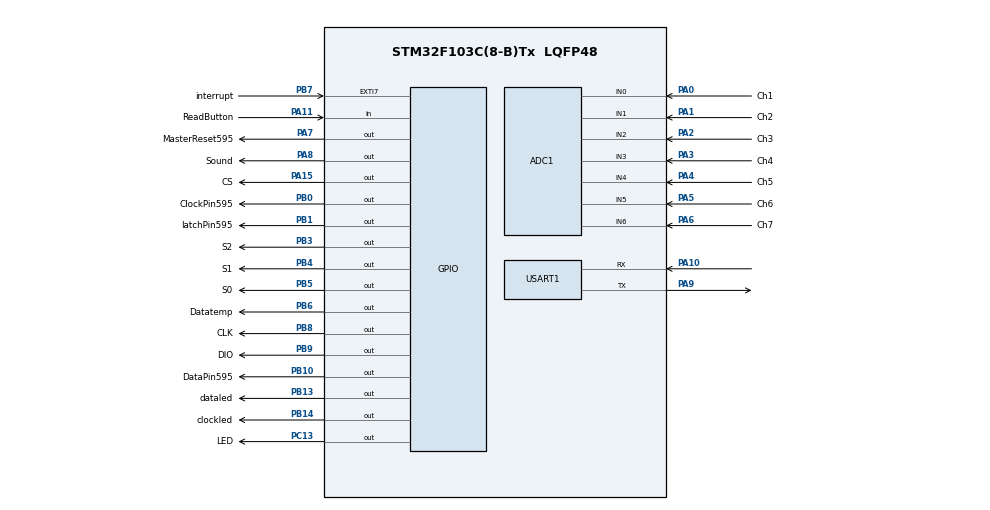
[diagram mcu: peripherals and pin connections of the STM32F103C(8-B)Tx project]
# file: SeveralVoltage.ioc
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ADC1.Channel-1\#ChannelRegularConversion=ADC_CHANNEL_0
ADC1.Channel-10\#ChannelRegularConversion=ADC_CHANNEL_5
ADC1.Channel-11\#ChannelRegularConversion=ADC_CHANNEL_6
ADC1.Channel-6\#ChannelRegularConversion=ADC_CHANNEL_1
ADC1.Channel-7\#ChannelRegularConversion=ADC_CHANNEL_2
ADC1.Channel-8\#ChannelRegularConversion=ADC_CHANNEL_3
ADC1.Channel-9\#ChannelRegularConversion=ADC_CHANNEL_4
ADC1.EnableInjectedConversion=DISABLE
ADC1.InjNumberOfConversion=4
ADC1.NbrOfConversion=7
ADC1.NbrOfConversionFlag=1
ADC1.Rank-1\#ChannelRegularConversion=1
ADC1.Rank-10\#ChannelRegularConversion=6
ADC1.Rank-11\#ChannelRegularConversion=7
ADC1.Rank-6\#ChannelRegularConversion=2
ADC1.Rank-7\#ChannelRegularConversion=3
ADC1.Rank-8\#ChannelRegularConversion=4
ADC1.Rank-9\#ChannelRegularConversion=5
ADC1.SamplingTime-1\#ChannelRegularConversion=ADC_SAMPLETIME_239CYCLES_5
ADC1.SamplingTime-10\#ChannelRegularConversion=ADC_SAMPLETIME_239CYCLES_5
ADC1.SamplingTime-11\#ChannelRegularConversion=ADC_SAMPLETIME_239CYCLES_5
ADC1.SamplingTime-6\#ChannelRegularConversion=ADC_SAMPLETIME_239CYCLES_5
ADC1.SamplingTime-7\#ChannelRegularConversion=ADC_SAMPLETIME_239CYCLES_5
ADC1.SamplingTime-8\#ChannelRegularConversion=ADC_SAMPLETIME_239CYCLES_5
ADC1.SamplingTime-9\#ChannelRegularConversion=ADC_SAMPLETIME_239CYCLES_5
ADC1.master=1
Dma.ADC1.0.Direction=DMA_PERIPH_TO_MEMORY
Dma.ADC1.0.Instance=DMA1_Channel1
Dma.ADC1.0.MemDataAlignment=DMA_MDATAALIGN_HALFWORD
Dma.ADC1.0.MemInc=DMA_MINC_ENABLE
Dma.ADC1.0.Mode=DMA_NORMAL
Dma.ADC1.0.PeriphDataAlignment=DMA_PDATAALIGN_HALFWORD
Dma.ADC1.0.PeriphInc=DMA_PINC_DISABLE
Dma.ADC1.0.Priority=DMA_PRIORITY_LOW
Dma.Request0=ADC1
Mcu.Family=STM32F1
Mcu.Name=STM32F103C(8-B)Tx
Mcu.Package=LQFP48
NVIC.DMA1_Channel1_IRQn=true\:0\:0\:false\:false\:true\:false\:true
NVIC.EXTI9_5_IRQn=true\:1\:0\:true\:false\:true\:true\:true
NVIC.PriorityGroup=NVIC_PRIORITYGROUP_4
NVIC.TIM2_IRQn=true\:0\:0\:true\:false\:true\:true\:true
NVIC.TIM3_IRQn=true\:0\:0\:false\:false\:true\:true\:true
NVIC.TIM4_IRQn=true\:0\:0\:false\:false\:true\:true\:true
NVIC.USART1_IRQn=true\:0\:0\:false\:false\:true\:true\:true
PA0-WKUP.GPIO_Label=Ch1
PA0-WKUP.Signal=ADCx_IN0
PA1.GPIO_Label=Ch2
PA1.Signal=ADCx_IN1
PA10.Mode=Asynchronous
PA10.Signal=USART1_RX
PA11.GPIO_Label=ReadButton
PA11.Signal=GPIO_Input
PA13.Mode=Serial_Wire
PA13.Signal=SYS_JTMS-SWDIO
PA14.Mode=Serial_Wire
PA14.Signal=SYS_JTCK-SWCLK
PA15.GPIO_Label=CS
PA15.GPIO_Speed=GPIO_SPEED_FREQ_LOW
PA15.Signal=GPIO_Output
PA2.GPIO_Label=Ch3
PA2.Signal=ADCx_IN2
PA3.GPIO_Label=Ch4
PA3.Signal=ADCx_IN3
PA4.GPIO_Label=Ch5
PA4.Signal=ADCx_IN4
PA5.GPIO_Label=Ch6
PA5.Signal=ADCx_IN5
PA6.GPIO_Label=Ch7
PA6.Signal=ADCx_IN6
PA7.GPIO_Label=MasterReset595
PA7.GPIO_ModeDefaultOutputPP=GPIO_MODE_OUTPUT_PP
PA7.PinState=GPIO_PIN_SET
PA7.Signal=GPIO_Output
PA8.GPIO_Label=Sound
PA8.Signal=GPIO_Output
PA9.Mode=Asynchronous
PA9.Signal=USART1_TX
PB0.GPIO_Label=ClockPin595
PB0.Signal=GPIO_Output
PB1.GPIO_Label=latchPin595
PB1.Signal=GPIO_Output
PB10.GPIO_Label=DataPin595
PB10.Signal=GPIO_Output
PB13.GPIO_Label=dataled
PB13.Signal=GPIO_Output
PB14.GPIO_Label=clockled
PB14.Signal=GPIO_Output
PB3.GPIO_Label=S2
PB3.Signal=GPIO_Output
PB4.GPIO_Label=S1
PB4.Signal=GPIO_Output
PB5.GPIO_Label=S0
PB5.Signal=GPIO_Output
PB6.GPIO_Label=Datatemp
PB6.GPIO_ModeDefaultOutputPP=GPIO_MODE_OUTPUT_OD
PB6.Signal=GPIO_Output
PB7.GPIO_Label=interrupt
PB7.GPIO_ModeDefaultEXTI=GPIO_MODE_IT_FALLING
PB7.Signal=GPXTI7
PB8.GPIO_Label=CLK
PB8.Signal=GPIO_Output
PB9.GPIO_Label=DIO
PB9.Signal=GPIO_Output
PC13-TAMPER-RTC.GPIO_Label=LED
PC13-TAMPER-RTC.Signal=GPIO_Output
PD0-OSC_IN.Mode=HSE-External-Oscillator
PD0-OSC_IN.Signal=RCC_OSC_IN
PD1-OSC_OUT.Mode=HSE-External-Oscillator
PD1-OSC_OUT.Signal=RCC_OSC_OUT
ProjectManager.HeapSize=0x200
ProjectManager.StackSize=0x400
ProjectManager.TargetToolchain=MDK-ARM V5.27
RCC.ADCPresc=RCC_ADCPCLK2_DIV8
RCC.AHBFreq_Value=72000000
RCC.APB1CLKDivider=RCC_HCLK_DIV2
RCC.APB1Freq_Value=36000000
RCC.APB1TimFreq_Value=72000000
RCC.APB2Freq_Value=72000000
RCC.APB2TimFreq_Value=72000000
RCC.HCLKFreq_Value=72000000
RCC.PLLMUL=RCC_PLL_MUL9
RCC.PLLSourceVirtual=RCC_PLLSOURCE_HSE
RCC.SYSCLKFreq_VALUE=72000000
RCC.SYSCLKSource=RCC_SYSCLKSOURCE_PLLCLK
RCC.USBFreq_Value=72000000
SH.ADCx_IN0.0=ADC1_IN0,IN0
SH.ADCx_IN1.0=ADC1_IN1,IN1
SH.ADCx_IN2.0=ADC1_IN2,IN2
SH.ADCx_IN3.0=ADC1_IN3,IN3
SH.ADCx_IN4.0=ADC1_IN4,IN4
SH.ADCx_IN5.0=ADC1_IN5,IN5
SH.ADCx_IN6.0=ADC1_IN6,IN6
TIM2.Period=7600
TIM2.Prescaler=7199
TIM3.Period=9999
TIM3.Prescaler=7199
TIM4.Period=1000
TIM4.Prescaler=7199
USART1.VirtualMode=VM_ASYNC
VP_CRC_VS_CRC.Mode=CRC_Activate
VP_TIM2_VS_ClockSourceINT.Mode=Internal
VP_TIM3_VS_ClockSourceINT.Mode=Internal
VP_TIM4_VS_ClockSourceINT.Mode=Internal
board=custom

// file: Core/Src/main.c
/* USER CODE BEGIN Header */
/**
  ******************************************************************************
  * @file           : main.c
  * @brief          : Main program body
  ******************************************************************************
  * @attention
  *
  * <h2><center>&copy; Copyright (c) 2022 STMicroelectronics.
  * All rights reserved.</center></h2>
  *
  * This software component is licensed by ST under BSD 3-Clause license,
  * the "License"; You may not use this file except in compliance with the
  * License. You may obtain a copy of the License at:
  *                        opensource.org/licenses/BSD-3-Clause
  *
  ******************************************************************************
  */
	//--------------------------------------------------------------------------------

/* USER CODE END Header */
#include "main.h"

/* USER CODE BEGIN PD */

//------------------------------------------------------NOT USED IN SEVERAL--------------------------
#define CS_set LL_GPIO_SetOutputPin(GPIOA, LL_GPIO_PIN_15);
#define CS_Reset LL_GPIO_ResetOutputPin(GPIOA, LL_GPIO_PIN_15);

/* USER CODE END PD */

ADC_HandleTypeDef hadc1;
DMA_HandleTypeDef hdma_adc1;

CRC_HandleTypeDef hcrc;

TIM_HandleTypeDef htim2;

/* USER CODE BEGIN PV */
volatile uint8_t flagtemp = 1;
//====================================USART================================================
char logs[10]="";
char logs1[10]="";
char str0[]="12345";//пример строки из 5 символов '\0' НУЛЕВОЙ С�?МВОЛ НЕ УКАЗЫВАЕТСЯ
char str1[6]={'1','2','3','4','5','\0'};//"тоже самое". '\0'- символ оканчания строки
char str2[6]={49,50,51,52,53,0};//"аналог"строки из 6 элементов типа char только уже в числовом представлении.
char rx_buf[10];//буфер для записи пришедших данных по usart
uint8_t flag_usart=0;//флаг для сигнализирования о том, что в юсарт что-то пришло
char rx_buf1[256];
volatile uint8_t rx_pos;
volatile uint8_t  send_temp_flag=0;
volatile uint8_t  show_channel_flag=0;
uint16_t adc_data;
//====================================END USART=============================================

uint32_t res_addr;//переменная, куда запишется последний свободный адрес в памяти. туда будет происходить запись новых элементов
int i;
int y;
float t=0;
int16_t temp;
uint8_t Maincondition = 0; //переменная флаг. определяет, какой блок в главном цикле будет выполняться
uint8_t Line_channel_current = 0;
uint8_t flagwhichfunctionisactive;//переменная флаг, которая показывает, какая из функций продолжительности звука сейчас в работе. 1 - long, 0 - short
uint8_t counterforsoundshort=Shortsoundtime;
uint8_t counterforsoundlong=Longsoundtime;
int8_t TimeDisp[4] = {0,};//переменная для дисплея
//                      {mos_1|mos_2|mos_3|mos_4|mos_5|mos_6|mos_7|rel_1|rel_2|rel_3|rel_4|rel_5|rel_6|rel_7| Fan |not used}
uint8_t Register595[16]={  0  ,  0  ,  0  ,  0  ,  0  ,  0  ,  0  ,  0  ,  0  ,  0  ,  0  ,  0  ,  0  ,  0  ,  0  ,    0   };//массив, отправляемый на регистр 595 и включающий каналы и реле
//-------------------------------------------------------------------------------------
//                               Front Panel
//                    but1   but2   but3  but4   but5  but6   but7
//      but8
//                    led1   led2   led3  led4   led5  led6   led7
//-------------------------------------------------------------------------------------
//led№                     1     2     3     4     5     6     7   not
uint8_t LedState[8] =   {  0  ,  0  ,  0  ,  0  ,  0  ,  0  ,  0  , 0 };//состояние светодиодов передней панели
//-------------------------------------------------------------------------------------
//S0|S1|S2								000		100		010		001		011		111		101	 110
//but№                     1     2     3     4     5     6     7    8
uint8_t ButtonState[8] ={  0  ,  0  ,  0  ,  0  ,  0  ,  0  ,  0  , 0 };//состояние кнопок после опроса. если 1 - то было короткое нажатие, если 2, то было длинное нажатие
uint8_t alarm_Button = 0;//флаг для сигнализирования о том, что с кнопками взаимодействовали и надо бы проверить их состояние.
//-------------------------------------------------------------------------------------
uint8_t button_8_mos_state_flag = 0;//флаг состояния кнопки 8 для управления всеми каналами одновременно. 0 - мосфеты выключены, 1 мосфеты включены
uint8_t button_8_rel_state_flag = 0;//флаг состояния кнопки 8 для управления всеми реле одновременно. 0 - реле выключеныб 1 - реле включены
//--------------------------------components with calculate current--------------------------
uint16_t adc_value[7];
double voltage[7];//переменная для накопления значений из ацп, в ней так же хранятся данные о значении тока на соответсвующем канале
//         												 (Xmin1 Xmin2 Xmin3 Xmin4 Xmin5 Xmin6 Xmin7) (Xmax1    Xmax2    Xmax3    Xmax4    Xmax5    Xmax6    Xmax7    zero)
myBuf_t   X_components[BUFFSIZE] = {  0  ,  0  ,  0  ,  0  ,  0  ,  0  ,  0   ,  4095  ,  4095  ,  4095  ,  4095  ,  4095  ,  4095  ,  4095  ,  0  };//массив для хранения компонент расчета тока, сохраняется во флеш памяти после калибровки
//                                 (Ymin1 Ymin2 Ymin3 Ymin4 Ymin5 Ymin6 Ymin7) (Ymax1 Ymax2  Ymax3  Ymax4  Ymax5  Ymax6  Ymax7  zero)
double    Y_components[BUFFSIZE] = { 0   ,  0  ,  0  ,  0  ,  0  ,  0  ,  0  ,  3.30 ,3.30 , 3.30 , 3.30 , 3.30 , 3.30 , 3.30 ,  0  };//эти компоненты измеряются мультиметром и записываются в прошивку
double K_coeff[7];//коэффициента к уравнениея прямой
double B_coeff[7];// смещение прямой, компонент В

//    X*Ymax_component - Xmin_component*Ymax_component
// Y=--------------------------------------------------
//             Xmax_component - Xmin_component
//
//    - Xmin_component*Ymax_component
// B=---------------------------------
//     Xmax_component - Xmin_component
//
//           Ymax_component
// K=--------------------------------
//    Xmax_component - Xmin_component
//-------------------------------------------------------------------------------------------
/* USER CODE END PV */

void SystemClock_Config(void);
static void MX_GPIO_Init(void);
static void MX_DMA_Init(void);
static void MX_ADC1_Init(void);
static void MX_TIM4_Init(void);
static void MX_CRC_Init(void);
static void MX_TIM3_Init(void);
static void MX_USART1_UART_Init(void);
static void MX_TIM2_Init(void);
/* USER CODE BEGIN PFP */
void channels_on_off(uint8_t a[]);
void LedFrontPanelUpdate(uint8_t a[]);
void fill_array_for_show_integer(int16_t number, int8_t* adress);
void fill_array_for_show_number_of_channel(int8_t chanel, int8_t* adress);
void fill_array_for_show_double(double number, int8_t* adress);
uint8_t Calibration(void);//функция калибровки, возвращает статус калибровки
void Check_Button(void); //функция проверяет состояние флага alarm batton и производит действия со сдвиговыми регистрами, если эта необходимо, включает\отключает каналы и зажигает светодиоды.
void fill_array_for_show_temp(float temp, int8_t * adress);
//===================================usart===========================
void usart_send_byte (char chr);
void usart_send_string(const char* str);
void clear_rx_buf(void);
void check_uart(void);
uint8_t Check_condition(void);
void condition_0(void);
void condition_1(void);
void condition_2(void);
void Are_all_lights_on_cheking(void);
//==================================end usart=========================
/* USER CODE END PFP */

int main(void)
{

  /* MCU Configuration--------------------------------------------------------*/

  /* Reset of all peripherals, Initializes the Flash interface and the Systick. */
  HAL_Init();

  /* Configure the system clock */
  SystemClock_Config();

  /* Initialize all configured peripherals */
  MX_GPIO_Init();
  MX_DMA_Init();
  MX_ADC1_Init();
  MX_TIM4_Init();
  MX_CRC_Init();
  MX_TIM3_Init();
  MX_USART1_UART_Init();
  MX_TIM2_Init();
	Are_all_lights_on_cheking();
  /* USER CODE BEGIN 2 */
	DWT_Init();        // инициализация DWT
  set_brightness(7); // 0 - 7 яркость
  clearDisplay();    // очистка дисплея
	HAL_ADCEx_Calibration_Start(&hadc1);
	LL_GPIO_SetOutputPin(MasterReset595_GPIO_Port, MasterReset595_Pin);//master reset high
	//============================================TIM3============================================================================//
	LL_TIM_EnableUpdateEvent(TIM3);//TIM3->CR1&=~TIM_CR1_UDIS
	LL_TIM_EnableIT_UPDATE(TIM3); //TIM3->DIER |= TIM_DIER_UIE; прерывания
	LL_TIM_EnableCounter(TIM3); //TIM3->CR1 |= TIM_CR1_CEN; // Запуск таймера
	//============================================TIM4============================================================================//
	LL_TIM_EnableUpdateEvent(TIM4);//TIM4->CR1&=~TIM_CR1_UDIS
	LL_TIM_EnableIT_UPDATE(TIM4); //TIM4->DIER |= TIM_DIER_UIE; прерывания
	//LL_TIM_EnableCounter(TIM4); //TIM4->CR1 |= TIM_CR1_CEN; // Запуск таймера
	//============================================================================================================================//
	//================================================usart===================================
	LL_USART_EnableIT_RXNE(USART1);
	//========================================================================================
	//erase_flash();//активируется одиз раз, затем комментариуется
	res_addr=flash_search_adress(STARTADDR, BUFFSIZE * DATAWIDTH);//ищем последний свободный адрес во влеш памяти
	//write_to_flash(X_components); // запись данных во флеш
	read_last_data_in_flash(X_components);//чтение последних данных из флеша
	Calibration();//калибровка
	for(i=0;i<7;i++){
			K_coeff[i] = Y_components[i+7]/(X_components[i+7] - X_components[i]);
		  B_coeff[i] = (-1)*(X_components[i]*Y_components[i+7])/(X_components[i+7] - X_components[i]);
	}

	Init_ds18b20(DS18B20_Resolution_12_bit);
  /* USER CODE END 2 */

  /* Infinite loop */
  /* USER CODE BEGIN WHILE */
	y=0;
	int flag_change_fan_condition = 1;
  while (1)
  {
		check_uart();
		Check_Button();
		Maincondition = Check_condition();
		switch(Maincondition){
			case 0:
				condition_0();
				break;
			case 1:
				condition_1();
				break;
			case 2:
				condition_2();
				break;
		}
		if(t > 50 && flag_change_fan_condition){// переменная t хранит текущую температуру, если температура выше 50 градусов, то включается вентилятор
			Register595[14]=1;
			flag_change_fan_condition = 0;
			channels_on_off(Register595);}

		if(t < 45 && !flag_change_fan_condition){
			Register595[14]=0;
			flag_change_fan_condition = 1;
			channels_on_off(Register595);}

		if(t > 75) {
			for(i = 0; i<14;i++)Register595[i]=0; // выключаем все каналы и реле
			Register595[14] = 1;//включаем вентилятор
			for(i = 0;i<8;i++) LedState[i] = 0;//выключаем светодиоды передней панели
			LedFrontPanelUpdate(LedState);
			channels_on_off(Register595);
			Short_sound();
			TimeDisp[0]= 10;TimeDisp[1]= 19;TimeDisp[2]= 19;TimeDisp[3]= 43;// Вывести надпись ALL на дисплей
			display_mass(TimeDisp);
			usart_send_string("Allarm! High T!");
			while(t > 65){ // в цикле постоянно мониторим температуру, если она опустится ниже порога, то цикл прерывается. Программа при это переходит в состояние 0
					ds18b20_getTemperature();//запуск нового измерения, результат будет через 750 мс.
					LL_mDelay(1000);
					temp = resTemperature(); // зависаем на ~3мс
					t = temp/16;
			}
		}
	}
    /* USER CODE END WHILE */

}

void SystemClock_Config(void)
{
  LL_FLASH_SetLatency(LL_FLASH_LATENCY_2);
  while(LL_FLASH_GetLatency()!= LL_FLASH_LATENCY_2)
  {
  }
  LL_RCC_HSE_Enable();

   /* Wait till HSE is ready */
  while(LL_RCC_HSE_IsReady() != 1)
  {

  }
  LL_RCC_PLL_ConfigDomain_SYS(LL_RCC_PLLSOURCE_HSE_DIV_1, LL_RCC_PLL_MUL_9);
  LL_RCC_PLL_Enable();

   /* Wait till PLL is ready */
  while(LL_RCC_PLL_IsReady() != 1)
  {

  }
  LL_RCC_SetAHBPrescaler(LL_RCC_SYSCLK_DIV_1);
  LL_RCC_SetAPB1Prescaler(LL_RCC_APB1_DIV_2);
  LL_RCC_SetAPB2Prescaler(LL_RCC_APB2_DIV_1);
  LL_RCC_SetSysClkSource(LL_RCC_SYS_CLKSOURCE_PLL);

   /* Wait till System clock is ready */
  while(LL_RCC_GetSysClkSource() != LL_RCC_SYS_CLKSOURCE_STATUS_PLL)
  {

  }
  LL_SetSystemCoreClock(72000000);

   /* Update the time base */
  if (HAL_InitTick (TICK_INT_PRIORITY) != HAL_OK)
  {
    Error_Handler();
  }
  LL_RCC_SetADCClockSource(LL_RCC_ADC_CLKSRC_PCLK2_DIV_8);
}

static void MX_ADC1_Init(void)
{

  ADC_ChannelConfTypeDef sConfig = {0};

  /** Common config
  */
  hadc1.Instance = ADC1;
  hadc1.Init.ScanConvMode = ADC_SCAN_ENABLE;
  hadc1.Init.ContinuousConvMode = DISABLE;
  hadc1.Init.DiscontinuousConvMode = DISABLE;
  hadc1.Init.ExternalTrigConv = ADC_SOFTWARE_START;
  hadc1.Init.DataAlign = ADC_DATAALIGN_RIGHT;
  hadc1.Init.NbrOfConversion = 7;
  if (HAL_ADC_Init(&hadc1) != HAL_OK)
  {
    Error_Handler();
  }
  /** Configure Regular Channel
  */
  sConfig.Channel = ADC_CHANNEL_0;
  sConfig.Rank = ADC_REGULAR_RANK_1;
  sConfig.SamplingTime = ADC_SAMPLETIME_239CYCLES_5;
  if (HAL_ADC_ConfigChannel(&hadc1, &sConfig) != HAL_OK)
  {
    Error_Handler();
  }
  /** Configure Regular Channel
  */
  sConfig.Channel = ADC_CHANNEL_1;
  sConfig.Rank = ADC_REGULAR_RANK_2;
  if (HAL_ADC_ConfigChannel(&hadc1, &sConfig) != HAL_OK)
  {
    Error_Handler();
  }
  /** Configure Regular Channel
  */
  sConfig.Channel = ADC_CHANNEL_2;
  sConfig.Rank = ADC_REGULAR_RANK_3;
  if (HAL_ADC_ConfigChannel(&hadc1, &sConfig) != HAL_OK)
  {
    Error_Handler();
  }
  /** Configure Regular Channel
  */
  sConfig.Channel = ADC_CHANNEL_3;
  sConfig.Rank = ADC_REGULAR_RANK_4;
  if (HAL_ADC_ConfigChannel(&hadc1, &sConfig) != HAL_OK)
  {
    Error_Handler();
  }
  /** Configure Regular Channel
  */
  sConfig.Channel = ADC_CHANNEL_4;
  sConfig.Rank = ADC_REGULAR_RANK_5;
  if (HAL_ADC_ConfigChannel(&hadc1, &sConfig) != HAL_OK)
  {
    Error_Handler();
  }
  /** Configure Regular Channel
  */
  sConfig.Channel = ADC_CHANNEL_5;
  sConfig.Rank = ADC_REGULAR_RANK_6;
  if (HAL_ADC_ConfigChannel(&hadc1, &sConfig) != HAL_OK)
  {
    Error_Handler();
  }
  /** Configure Regular Channel
  */
  sConfig.Channel = ADC_CHANNEL_6;
  sConfig.Rank = ADC_REGULAR_RANK_7;
  if (HAL_ADC_ConfigChannel(&hadc1, &sConfig) != HAL_OK)
  {
    Error_Handler();
  }

}

static void MX_CRC_Init(void)
{

  hcrc.Instance = CRC;
  if (HAL_CRC_Init(&hcrc) != HAL_OK)
  {
    Error_Handler();
  }

}

static void MX_TIM2_Init(void)
{

  TIM_ClockConfigTypeDef sClockSourceConfig = {0};
  TIM_MasterConfigTypeDef sMasterConfig = {0};

  htim2.Instance = TIM2;
  htim2.Init.Prescaler = 7199;
  htim2.Init.CounterMode = TIM_COUNTERMODE_UP;
  htim2.Init.Period = 7600;
  htim2.Init.ClockDivision = TIM_CLOCKDIVISION_DIV1;
  htim2.Init.AutoReloadPreload = TIM_AUTORELOAD_PRELOAD_DISABLE;
  if (HAL_TIM_Base_Init(&htim2) != HAL_OK)
  {
    Error_Handler();
  }
  sClockSourceConfig.ClockSource = TIM_CLOCKSOURCE_INTERNAL;
  if (HAL_TIM_ConfigClockSource(&htim2, &sClockSourceConfig) != HAL_OK)
  {
    Error_Handler();
  }
  sMasterConfig.MasterOutputTrigger = TIM_TRGO_RESET;
  sMasterConfig.MasterSlaveMode = TIM_MASTERSLAVEMODE_DISABLE;
  if (HAL_TIMEx_MasterConfigSynchronization(&htim2, &sMasterConfig) != HAL_OK)
  {
    Error_Handler();
  }

}

static void MX_TIM3_Init(void)
{

  LL_TIM_InitTypeDef TIM_InitStruct = {0};

  /* Peripheral clock enable */
  LL_APB1_GRP1_EnableClock(LL_APB1_GRP1_PERIPH_TIM3);

  /* TIM3 interrupt Init */
  NVIC_SetPriority(TIM3_IRQn, NVIC_EncodePriority(NVIC_GetPriorityGrouping(),0, 0));
  NVIC_EnableIRQ(TIM3_IRQn);

  TIM_InitStruct.Prescaler = 7199;
  TIM_InitStruct.CounterMode = LL_TIM_COUNTERMODE_UP;
  TIM_InitStruct.Autoreload = 9999;
  TIM_InitStruct.ClockDivision = LL_TIM_CLOCKDIVISION_DIV1;
  LL_TIM_Init(TIM3, &TIM_InitStruct);
  LL_TIM_DisableARRPreload(TIM3);
  LL_TIM_SetClockSource(TIM3, LL_TIM_CLOCKSOURCE_INTERNAL);
  LL_TIM_SetTriggerOutput(TIM3, LL_TIM_TRGO_RESET);
  LL_TIM_DisableMasterSlaveMode(TIM3);

}

static void MX_TIM4_Init(void)
{

  LL_TIM_InitTypeDef TIM_InitStruct = {0};

  /* Peripheral clock enable */
  LL_APB1_GRP1_EnableClock(LL_APB1_GRP1_PERIPH_TIM4);

  /* TIM4 interrupt Init */
  NVIC_SetPriority(TIM4_IRQn, NVIC_EncodePriority(NVIC_GetPriorityGrouping(),0, 0));
  NVIC_EnableIRQ(TIM4_IRQn);

  TIM_InitStruct.Prescaler = 7199;
  TIM_InitStruct.CounterMode = LL_TIM_COUNTERMODE_UP;
  TIM_InitStruct.Autoreload = 1000;
  TIM_InitStruct.ClockDivision = LL_TIM_CLOCKDIVISION_DIV1;
  LL_TIM_Init(TIM4, &TIM_InitStruct);
  LL_TIM_DisableARRPreload(TIM4);
  LL_TIM_SetClockSource(TIM4, LL_TIM_CLOCKSOURCE_INTERNAL);
  LL_TIM_SetTriggerOutput(TIM4, LL_TIM_TRGO_RESET);
  LL_TIM_DisableMasterSlaveMode(TIM4);

}

static void MX_USART1_UART_Init(void)
{

  LL_USART_InitTypeDef USART_InitStruct = {0};

  LL_GPIO_InitTypeDef GPIO_InitStruct = {0};

  /* Peripheral clock enable */
  LL_APB2_GRP1_EnableClock(LL_APB2_GRP1_PERIPH_USART1);

  LL_APB2_GRP1_EnableClock(LL_APB2_GRP1_PERIPH_GPIOA);
  /**USART1 GPIO Configuration
  PA9   ------> USART1_TX
  PA10   ------> USART1_RX
  */
  GPIO_InitStruct.Pin = LL_GPIO_PIN_9;
  GPIO_InitStruct.Mode = LL_GPIO_MODE_ALTERNATE;
  GPIO_InitStruct.Speed = LL_GPIO_SPEED_FREQ_HIGH;
  GPIO_InitStruct.OutputType = LL_GPIO_OUTPUT_PUSHPULL;
  LL_GPIO_Init(GPIOA, &GPIO_InitStruct);

  GPIO_InitStruct.Pin = LL_GPIO_PIN_10;
  GPIO_InitStruct.Mode = LL_GPIO_MODE_FLOATING;
  LL_GPIO_Init(GPIOA, &GPIO_InitStruct);

  /* USART1 interrupt Init */
  NVIC_SetPriority(USART1_IRQn, NVIC_EncodePriority(NVIC_GetPriorityGrouping(),0, 0));
  NVIC_EnableIRQ(USART1_IRQn);

  USART_InitStruct.BaudRate = 115200;
  USART_InitStruct.DataWidth = LL_USART_DATAWIDTH_8B;
  USART_InitStruct.StopBits = LL_USART_STOPBITS_1;
  USART_InitStruct.Parity = LL_USART_PARITY_NONE;
  USART_InitStruct.TransferDirection = LL_USART_DIRECTION_TX_RX;
  USART_InitStruct.HardwareFlowControl = LL_USART_HWCONTROL_NONE;
  USART_InitStruct.OverSampling = LL_USART_OVERSAMPLING_16;
  LL_USART_Init(USART1, &USART_InitStruct);
  LL_USART_ConfigAsyncMode(USART1);
  LL_USART_Enable(USART1);

}

static void MX_DMA_Init(void)
{

  /* DMA controller clock enable */
  __HAL_RCC_DMA1_CLK_ENABLE();

  /* DMA interrupt init */
  /* DMA1_Channel1_IRQn interrupt configuration */
  HAL_NVIC_SetPriority(DMA1_Channel1_IRQn, 0, 0);
  HAL_NVIC_EnableIRQ(DMA1_Channel1_IRQn);

}

static void MX_GPIO_Init(void)
{
  LL_EXTI_InitTypeDef EXTI_InitStruct = {0};
  LL_GPIO_InitTypeDef GPIO_InitStruct = {0};

  /* GPIO Ports Clock Enable */
  LL_APB2_GRP1_EnableClock(LL_APB2_GRP1_PERIPH_GPIOC);
  LL_APB2_GRP1_EnableClock(LL_APB2_GRP1_PERIPH_GPIOD);
  LL_APB2_GRP1_EnableClock(LL_APB2_GRP1_PERIPH_GPIOA);
  LL_APB2_GRP1_EnableClock(LL_APB2_GRP1_PERIPH_GPIOB);

  /**/
  LL_GPIO_ResetOutputPin(LED_GPIO_Port, LED_Pin);

  /**/
  LL_GPIO_ResetOutputPin(GPIOB, ClockPin595_Pin|latchPin595_Pin|DataPin595_Pin|dataled_Pin
                          |clockled_Pin|S2_Pin|S1_Pin|S0_Pin
                          |Datatemp_Pin|CLK_Pin|DIO_Pin);

  /**/
  LL_GPIO_ResetOutputPin(GPIOA, Sound_Pin|CS_Pin);

  /**/
  LL_GPIO_SetOutputPin(MasterReset595_GPIO_Port, MasterReset595_Pin);

  /**/
  GPIO_InitStruct.Pin = LED_Pin;
  GPIO_InitStruct.Mode = LL_GPIO_MODE_OUTPUT;
  GPIO_InitStruct.Speed = LL_GPIO_SPEED_FREQ_LOW;
  GPIO_InitStruct.OutputType = LL_GPIO_OUTPUT_PUSHPULL;
  LL_GPIO_Init(LED_GPIO_Port, &GPIO_InitStruct);

  /**/
  GPIO_InitStruct.Pin = MasterReset595_Pin|Sound_Pin|CS_Pin;
  GPIO_InitStruct.Mode = LL_GPIO_MODE_OUTPUT;
  GPIO_InitStruct.Speed = LL_GPIO_SPEED_FREQ_LOW;
  GPIO_InitStruct.OutputType = LL_GPIO_OUTPUT_PUSHPULL;
  LL_GPIO_Init(GPIOA, &GPIO_InitStruct);

  /**/
  GPIO_InitStruct.Pin = ClockPin595_Pin|latchPin595_Pin|DataPin595_Pin|dataled_Pin
                          |clockled_Pin|S2_Pin|S1_Pin|S0_Pin
                          |CLK_Pin|DIO_Pin;
  GPIO_InitStruct.Mode = LL_GPIO_MODE_OUTPUT;
  GPIO_InitStruct.Speed = LL_GPIO_SPEED_FREQ_LOW;
  GPIO_InitStruct.OutputType = LL_GPIO_OUTPUT_PUSHPULL;
  LL_GPIO_Init(GPIOB, &GPIO_InitStruct);

  /**/
  GPIO_InitStruct.Pin = ReadButton_Pin;
  GPIO_InitStruct.Mode = LL_GPIO_MODE_FLOATING;
  LL_GPIO_Init(ReadButton_GPIO_Port, &GPIO_InitStruct);

  /**/
  GPIO_InitStruct.Pin = Datatemp_Pin;
  GPIO_InitStruct.Mode = LL_GPIO_MODE_OUTPUT;
  GPIO_InitStruct.Speed = LL_GPIO_SPEED_FREQ_LOW;
  GPIO_InitStruct.OutputType = LL_GPIO_OUTPUT_OPENDRAIN;
  LL_GPIO_Init(Datatemp_GPIO_Port, &GPIO_InitStruct);

  /**/
  LL_GPIO_AF_SetEXTISource(LL_GPIO_AF_EXTI_PORTB, LL_GPIO_AF_EXTI_LINE7);

  /**/
  EXTI_InitStruct.Line_0_31 = LL_EXTI_LINE_7;
  EXTI_InitStruct.LineCommand = ENABLE;
  EXTI_InitStruct.Mode = LL_EXTI_MODE_IT;
  EXTI_InitStruct.Trigger = LL_EXTI_TRIGGER_FALLING;
  LL_EXTI_Init(&EXTI_InitStruct);

  /**/
  LL_GPIO_SetPinMode(interrupt_GPIO_Port, interrupt_Pin, LL_GPIO_MODE_FLOATING);

  /* EXTI interrupt init*/
  NVIC_SetPriority(EXTI9_5_IRQn, NVIC_EncodePriority(NVIC_GetPriorityGrouping(),1, 0));
  NVIC_EnableIRQ(EXTI9_5_IRQn);

}

/* USER CODE BEGIN 4 */

//=================================usart1_send_byte==============================//
//+++++++++++++++++++++++++++++++++++++++++++++++++++++++++++++++++++++++++++++++//
void usart_send_byte (char chr){
	       LL_USART_TransmitData8(USART1,chr);//USART1->DR = chr;
	       while (!LL_USART_IsActiveFlag_TC(USART1));
}
//+++++++++++++++++++++++++++++++++++++++++++++++++++++++++++++++++++++++++++++++//
//=================================usart1_send_string============================//
//+++++++++++++++++++++++++++++++++++++++++++++++++++++++++++++++++++++++++++++++//
//void usart_send_string(const char* str) {//по началу использовал этот вариант!!!
//  while(*str){
//		usart_send_byte(*str++);
//	}
//}
void usart_send_string(const char str[]) {//этот вариант проще для понимания
	uint16_t i = 0;
  while(str[i]){
		usart_send_byte(str[i++]);
	}
}
//=========================================================================//
//-----------------------------clear_rx_buf--------------------------------//
//=========================================================================//
void clear_rx_buf(void){
	for(;rx_pos!=0;rx_pos--) rx_buf[rx_pos]=0xFF;
	rx_buf[0]=0xFF;
}
//----------------------------------------------------------------------------------------------------------------------------
uint8_t Calibration(void){//функция калибровки, возвращает ноль в случае успеха или код ошибки, в случае неудачи
	//===================================calibration start=========================================================
	uint8_t Calibration_Status=0;
	ButtonRead(&alarm_Button, &ButtonState[0]);//читаем кнопки и записываем
	for(i=0;i<8;i++){//в цикле проверяем все кнопки, если хотя бы одна нажата, то выполняем код калибровки и дальше выходим из цикла в обычную загрузку
			uint8_t global_flag=1;//флаг для каскадного выхода из циклов
			uint8_t flag;//флаг для выхода из цикла
			uint16_t count=0;//счетчик для мигания светодиодом канала в цикле
			if( ButtonState[i] ){
				Short_sound();
				TimeDisp[0] = 12;TimeDisp[1] = 10;TimeDisp[2] = 19;TimeDisp[3] = 19;
				display_mass(TimeDisp);//Выводим надпись CALL
				LL_mDelay(1000);
				for(int j=0;j<7;j++)   Register595[j+7]=1; //заполняем ячейки реле единицами

				channels_on_off(Register595);// включаем все реле
				LL_mDelay(2000);
				for(int j=0;j<Sample_ADC;j++){
					HAL_ADC_Start_DMA(&hadc1,(uint32_t*)adc_value,7);
					for(i=0;i<7;i++) voltage[i]+=adc_value[i];
				}
				LL_mDelay(3000);
				for(int j=0;j<Sample_ADC;j++){
					HAL_ADC_Start_DMA(&hadc1,(uint32_t*)adc_value,7);
					for(i=0;i<7;i++) voltage[i]+=adc_value[i];
				}
				for(int j=0;j<7;j++) {
					X_components[j]=voltage[j]/(Sample_ADC);//запись минимальной компоненты, такое значение счетчика при нулевом токе через канал
					voltage[j]=0;
				}

				while(1){
					if(!global_flag) break;
					for(int j=0;j<7;j++){
						if(LedState[0]&&LedState[1]&&LedState[2]&&LedState[3]&&LedState[4]&&LedState[5]&&LedState[6]) global_flag=0;
						if(!global_flag) break;
						if(LedState[j]) continue;
						ButtonState[j]=0;//обнуляем кнопку канала на тот случай, если нажали ее когда-то и в переменной сохранилось значение, теперь мы считаем что нажатий не было
						flag=1;
						Register595[j]=1;
						channels_on_off(Register595);//включаем канал
						fill_array_for_show_number_of_channel(j+1,TimeDisp);
						display_mass(TimeDisp);//отображаем калибруемый канал на дисплее
						count=0;//счетчик для мигания светодиодом канала в цикле
						while(flag){
							LL_GPIO_TogglePin(GPIOC,LL_GPIO_PIN_13);
							LL_mDelay(50);
							if(count==20){
								count=0;
								if(LedState[j]){
									LedState[j]=0;
									LedFrontPanelUpdate(LedState);
								}
								else{
									LedState[j]=1;
									LedFrontPanelUpdate(LedState);
								}
							}

							if(ButtonState[j]==1){//если кнопка калибруемого канала нажата коротко, то переходим на след. канал
								LedState[j]=0; ButtonState[j]=0; Register595[j]=0; flag=0; Short_sound();
							}
							if(ButtonState[j]==2){//если кнопка канала нажата "длинно", это значит подтверждение, что мы с помощью внешнего прибора выставили максимальный ток на канале. Записываем значения максимальной компоненты и переходим на след канал
								for(int y=0;y<Sample_ADC;y++){
									HAL_ADC_Start_DMA(&hadc1,(uint32_t*)adc_value,7);
									for(i=0;i<7;i++) voltage[i]+=adc_value[i];
								}
								X_components[j+7]=voltage[j]/(Sample_ADC);
								for(i=0;i<7;i++) voltage[i]=0;
								LedState[j]=1;//если калибровка канала прошла, то светодиод канала включен всегда и канал больше не участвует в калибровке
								ButtonState[j]=0; Register595[j]=0; flag=0; Long_sound();
							}
							if(ButtonState[7]){//если нажата общая кнопка, то мы выходим из режима калибровки путем опускания всех флагов
								ButtonState[7]=0; flag=0; global_flag=0;
							}
							count++;
						}
					}
				}
				//РАСКОМЕНТ�?ТЬ ПОСЛЕ ОТЛАДК�?!!!write_to_flash(X_components);//записываем данные в память после калибровки. После каждого входа в режим калибровки, данные в памяти будут обновлены, даже если они не изменились
				break;//выход из режима калибровки
			}
	}
	alarm_Button=0;//обнуляем флаг кнопок после выхода из калибровки
	for(int j=0;j<14;j++)   Register595[j]=0; //заполняем ячейки сдвиг регистра нулями после выхода из калибровки
	for(int j=0;j<8;j++){
		LedState[j]=0;
		ButtonState[j]=0;
	}
	channels_on_off(Register595);//выключаем все каналы и реле после калибровки
	LedFrontPanelUpdate(LedState);//выключаем все светодиоды на передней панели после выхода из калибровки
	return Calibration_Status;//возвращает код статуса калибровки
//=========================================END Calibration=================================================================
}
//================================================================================================================
void channels_on_off(uint8_t a[])//отправка на сдвиговый регистр входного массива для управления реле и мосфетами
{
	//                      {rel_4|mos_5|rel_5|mos_6|rel_6|mos_7|rel_7|fan|mos_1|rel_1|mos_2|rel_2|mos_3|rel_3|mos_4|not used} порядок при загрузке в сдвиговый регистр
	static int8_t buf[] = {10,4,11,5,12,6,13,14,0,7,1,8,2,9,3,15};//массив правильного порядка считывания
	LL_GPIO_ResetOutputPin(latchPin595_GPIO_Port, latchPin595_Pin);
	for(uint8_t i=0;i<16;i++)
	{
		if(a[buf[i]]) LL_GPIO_SetOutputPin(DataPin595_GPIO_Port, DataPin595_Pin);
		else LL_GPIO_ResetOutputPin(DataPin595_GPIO_Port, DataPin595_Pin);
		LL_GPIO_ResetOutputPin(GPIOB, LL_GPIO_PIN_0);	LL_GPIO_SetOutputPin(GPIOB, LL_GPIO_PIN_0);//ClockPin595 low to high
	}
	LL_GPIO_SetOutputPin(latchPin595_GPIO_Port, latchPin595_Pin);
}
//----------------------------------------------------------------------------------------------------------------------------
void LedFrontPanelUpdate(uint8_t a[])//обновление состояний светодиодов на передней панели
{
  //led№                   not    3     2     1     7     6     5    4
  static int8_t b[8] =   {  7  ,  2  ,  1  ,  0  ,  6  ,  5  ,  4  , 3 };//массив верного порядка считывания и загрузки в регистр 164.
	for(uint8_t i = 0; i < 8 ; i++)
	{
		if(a[b[i]]) LL_GPIO_SetOutputPin(dataled_GPIO_Port, dataled_Pin);
		else LL_GPIO_ResetOutputPin(dataled_GPIO_Port, dataled_Pin);
		LL_GPIO_SetOutputPin(clockled_GPIO_Port, clockled_Pin); LL_GPIO_ResetOutputPin(clockled_GPIO_Port, clockled_Pin);
	}
}
//-------------------------------------------------------------------------------------------------------------------------------
void fill_array_for_show_integer(int16_t number, int8_t* b) //функция разбивки числа по разрядам с записью разрядов в виде отдельных чисел по указателю
{
  int16_t s;
	int16_t buf=number;//zxcv
	s=buf/1000;*b = s;//z
	buf=buf-s*1000;//xcv
	s=buf/100;*(b+1)=s;//=x
	buf=buf-s*100;//cv
	s=buf/10;*(b+2)=s;//c
	s=buf-s*10;*(b+3)=s;//v

	if(*b == 0){        *b=43; //проверка старшего разряда, если он равен 0, то меняем его на пустое место и дальше методом рекурсии проходим по всем разрядам, кроме младшего, младший всегда горит.
		if(*(b+1) == 0){  *(b+1) = 43;
		if(*(b+2) == 0)   *(b+2) = 43;
	  }
  }
}

//==================================================================================================================
void fill_array_for_show_number_of_channel(int8_t chanel,int8_t* adress)
{
	*(adress)   = 12;
	*(adress+1) = 32;
	*(adress+2) = 46;
	*(adress+3) = chanel;
}
//==================================================================================================================
void fill_array_for_show_double(double number, int8_t* adress)//функция разбивает пришедшее число на цифры и ставит точку после первого, записываются цифры в массив по указателю
{

	//z.xcv
	int16_t s;
	*(adress) = (int8_t)number+50;//z.
	int16_t buf = (number-(*(adress)-50))*1000;//xcv

	s=buf/100;*(adress+1)=s;//=x
	buf=buf-s*100;//cv
	s=buf/10;*(adress+2)=s;//c
	s=buf-s*10;*(adress+3)=s;//v
}

//==================================================================================================================
void fill_array_for_show_temp(float temp, int8_t * adress){

	//zx.cv
	int16_t s = temp*100;//zxcv
	*(adress) = s/1000;//z
	int16_t buf = s-(*(adress)*1000);//xcv

	s=buf/100;*(adress+1)=(s+50);//=x.
	buf=buf-s*100;//cv
	s=buf/10;*(adress+2)=s;//c
	s=buf-s*10;
	*(adress+3)=s;//v
}
//==================================================================================================================
//==================================================================================================================
void check_uart(void){
	if(flag_usart){
		flag_usart=0;
		int flg =0;
		if (strstr(rx_buf,"C1N")){ Register595[0] = 1;flg = 1;}
		if (strstr(rx_buf,"C2N")){ Register595[1] = 1;flg = 1;}
		if (strstr(rx_buf,"C3N")){ Register595[2] = 1;flg = 1;}
		if (strstr(rx_buf,"C4N")){ Register595[3] = 1;flg = 1;}
		if (strstr(rx_buf,"C5N")){ Register595[4] = 1;flg = 1;}
		if (strstr(rx_buf,"C6N")){ Register595[5] = 1;flg = 1;}
		if (strstr(rx_buf,"C7N")){ Register595[6] = 1;flg = 1;}
		if (strstr(rx_buf,"CN")){
			for(int i = 0; i < 7; i++) Register595[i] = 1;
			flg = 1;
		}
		if (strstr(rx_buf,"C1F")){ Register595[0] = 0;flg = 1;}
		if (strstr(rx_buf,"C2F")){ Register595[1] = 0;flg = 1;}
		if (strstr(rx_buf,"C3F")){ Register595[2] = 0;flg = 1;}
		if (strstr(rx_buf,"C4F")){ Register595[3] = 0;flg = 1;}
		if (strstr(rx_buf,"C5F")){ Register595[4] = 0;flg = 1;}
		if (strstr(rx_buf,"C6F")){ Register595[5] = 0;flg = 1;}
		if (strstr(rx_buf,"C7F")){ Register595[6] = 0;flg = 1;}
		if (strstr(rx_buf,"CF")){
			for(int i = 0; i < 7; i++) Register595[i] = 0;
			flg = 1;
		}
		if (strstr(rx_buf,"R1N")){ Register595[7] = 1;LedState[0]=1;flg = 1;}
		if (strstr(rx_buf,"R2N")){ Register595[8] = 1;LedState[1]=1;flg = 1;}
		if (strstr(rx_buf,"R3N")){ Register595[9] = 1;LedState[2]=1;flg = 1;}
		if (strstr(rx_buf,"R4N")){ Register595[10] = 1;LedState[3]=1;flg = 1;}
		if (strstr(rx_buf,"R5N")){ Register595[11] = 1;LedState[4]=1;flg = 1;}
		if (strstr(rx_buf,"R6N")){ Register595[12] = 1;LedState[5]=1;flg = 1;}
		if (strstr(rx_buf,"R7N")){ Register595[13] = 1;LedState[6]=1;flg = 1;}
		if (strstr(rx_buf,"RN")){
			for(int i = 7; i < 14; i++){ Register595[i] = 1;LedState[i-7]=1;}
			flg = 1;
		}
		if (strstr(rx_buf,"R1F")){ Register595[7] = 0;LedState[0]=0;flg = 1;}
		if (strstr(rx_buf,"R2F")){ Register595[8] = 0;LedState[1]=0;flg = 1;}
		if (strstr(rx_buf,"R3F")){ Register595[9] = 0;LedState[2]=0;flg = 1;}
		if (strstr(rx_buf,"R4F")){ Register595[10] = 0;LedState[3]=0;flg = 1;}
		if (strstr(rx_buf,"R5F")){ Register595[11] = 0;LedState[4]=0;flg = 1;}
		if (strstr(rx_buf,"R6F")){ Register595[12] = 0;LedState[5]=0;flg = 1;}
		if (strstr(rx_buf,"R7F")){ Register595[13] = 0;LedState[6]=0;flg = 1;}
		if (strstr(rx_buf,"RF")){
			for(int i = 7; i < 14; i++) {Register595[i] = 0;LedState[i-7]=0;}
			flg = 1;
		}
		if (strstr(rx_buf,"FAN")){ Register595[14] = 1;flg = 1;}
		if (strstr(rx_buf,"FAF")){ Register595[14] = 0;flg = 1;}
		if(flg){
			flg = 0;
			channels_on_off(Register595);
			LedFrontPanelUpdate(LedState);
			clear_rx_buf();
			sprintf(logs1,"ok");
			usart_send_string(logs1);
		}
	}
}

//==================================================================================================================
void Short_sound(void){
	flagwhichfunctionisactive=0;
	if(!counterforsoundshort){
		LL_GPIO_ResetOutputPin(Sound_GPIO_Port,Sound_Pin);
		LL_TIM_DisableCounter(TIM4);
		counterforsoundshort=Shortsoundtime;
	}
	else{
		LL_GPIO_SetOutputPin(Sound_GPIO_Port,Sound_Pin);
		LL_TIM_EnableCounter(TIM4);		//TIM4->CR1 |= TIM_CR1_CEN; // Запуск таймера
		counterforsoundshort--;
	}
}
//==================================================================================================================
void Long_sound(void){
	flagwhichfunctionisactive=1;
	if(!counterforsoundlong){
		LL_GPIO_ResetOutputPin(Sound_GPIO_Port,Sound_Pin);
		LL_TIM_DisableCounter(TIM4);
		counterforsoundlong=Longsoundtime;
	}
	else{
		LL_GPIO_SetOutputPin(Sound_GPIO_Port,Sound_Pin);
		LL_TIM_EnableCounter(TIM4);		//TIM4->CR1 |= TIM_CR1_CEN; // Запуск таймера
		counterforsoundlong--;
	}
}
//==================================================================================================================
void Check_Button(void){//проверяет флаг, если поднят, то сканирует состояние кнопок и состояние регистра каналов, если нужно, изменяет состояние светодиодов, обновляет информацию и меняет состояние Maincondition
			if(alarm_Button){
				alarm_Button=0;
				for(i=0;i<7;i++){
					if(ButtonState[i]){
						if(ButtonState[i]==1){
							if(Register595[i]) Register595[i]=0;
							else               Register595[i]=1;}
						else{
							if(Register595[i+7]){
								Register595[i+7]=0;
								LedState[i]=0;}
							else {
								Register595[i+7]=1;
								LedState[i]=1;}}}}

				if(ButtonState[7]){
					if(ButtonState[7]==1){
						if(button_8_mos_state_flag){
							button_8_mos_state_flag=0;
							for(i=0;i<7;i++){
								Register595[i]=0;	}}
						else {
							button_8_mos_state_flag=1;
							for(i=0;i<7;i++){
								Register595[i]=1;}}}
					else{
						if(button_8_rel_state_flag){
							button_8_rel_state_flag=0;
							for(i=0;i<7;i++){
								Register595[i+7]=0;
								LedState[i]=0;}}
						else {
							button_8_rel_state_flag=1;
							for(i=0;i<7;i++){
								Register595[i+7]=1;
								LedState[i]=1;}}}}
				channels_on_off(Register595);
				LedFrontPanelUpdate(LedState);
			}
}
//==================================================================================================================
uint8_t Check_condition(void){
	uint8_t condition = 0;
	for(int i = 0;i<7;i++){
		if(Register595[i]){
			condition = 1;
			break;}}

	if(condition){
		for(int i = 0;i<7;i++){
			if(Register595[i] && Register595[i+7]){
				condition = 2;
				break;}}}
	return condition;
}
//==================================================================================================================
void condition_0(void){
		if(send_temp_flag>=10){
			send_temp_flag=0;
			ds18b20_getTemperature();}//запуск нового измерения, результат будет через 750 мс.
	  if(flagtemp == 2){ // когда таймер отсчитает 750мс, он установит flag == 2
		  flagtemp = 0;
		  temp = resTemperature(); // зависаем на ~3мс
			t = temp/16;
			sprintf(logs,"T = %.2f \n\r",t);
			usart_send_string(logs);}
		if(show_channel_flag>=1){
			show_channel_flag = 0;
			if(!Line_channel_current){
				Line_channel_current = 1;
				fill_array_for_show_temp(t,TimeDisp);
				display_mass(TimeDisp);}
			else{
				Line_channel_current = 0;
				fill_array_for_show_temp(t,TimeDisp);
				TimeDisp[2]= 47;TimeDisp[3]= 12;//TimeDisp[2]= 43;TimeDisp[3]= 43;
				display_mass(TimeDisp);
			}

		}

}
void condition_1(void){
		if(send_temp_flag>=10){
			send_temp_flag=0;
			ds18b20_getTemperature();}//запуск нового измерения, результат будет через 750 мс.
	  if(flagtemp == 2){ // когда таймер отсчитает 750мс, он установит flag == 2
		  flagtemp = 0;
		  temp = resTemperature(); // зависаем на ~3мс
			t = temp/16;
			sprintf(logs,"T = %.2f \n\r",t);
			usart_send_string(logs);
		}
		if(show_channel_flag){
			show_channel_flag = 0;
			if(y>=7) y = 0;
			while(!Register595[y]){
				y++;
				if(y>6) y = 0;
			}
			y+=1;
			fill_array_for_show_number_of_channel(y,TimeDisp);
			display_mass(TimeDisp);
			usart_send_string("Ch on: ");
			for(int i = 0;i<7;i++){
				if(Register595[i]){
					sprintf(logs,"%d ",(i+1));
					usart_send_string(logs);}}
			usart_send_string("\n\r");
		}
}
void condition_2(void){
		if(send_temp_flag>=10){
			send_temp_flag=0;
			ds18b20_getTemperature();}//запуск нового измерения, результат будет через 750 мс.
	  if(flagtemp == 2){ // когда таймер отсчитает 750мс, он установит flag == 2
		  flagtemp = 0;
		  temp = resTemperature(); // зависаем на ~3мс
			t = temp/16;
			sprintf(logs,"T = %.2f \n\r",t);
			usart_send_string(logs);
		}

		if(show_channel_flag>=1){
			show_channel_flag = 0;

			for(i=0;i<7;i++)	voltage[i]=0;
			for(int j=0;j<Sample_ADC;j++){
				HAL_ADC_Start_DMA(&hadc1,(uint32_t*)adc_value,7);
				for(i=0;i<7;i++) voltage[i]+=adc_value[i];
			}
			for(i=0;i<7;i++)voltage[i]=(voltage[i]/Sample_ADC);
			for(i=0;i<7;i++)voltage[i]=(voltage[i]* K_coeff[i])+B_coeff[i];
			if(!Line_channel_current){
				Line_channel_current = 1;
				if(y>=7) y = 0;
				while(!Register595[y] || !Register595[y+7]){
					y++;
					if(y>6) y = 0;
				}
				y+=1;
				fill_array_for_show_number_of_channel(y,TimeDisp);
				display_mass(TimeDisp);}
			else{
				Line_channel_current = 0;
				fill_array_for_show_double(voltage[y-1],TimeDisp);
				usart_send_string("Ch on:");
			for(int i = 0;i<7;i++){
				if(Register595[i]){
					sprintf(logs," %d",(i+1));
					usart_send_string(logs);}
				if(Register595[i+7]){
					sprintf(logs,"(%.3f)",voltage[i]);
					usart_send_string(logs);
				}
			}
			usart_send_string("\n\r");
				display_mass(TimeDisp);
			}
		}
}
//=======================================
void Are_all_lights_on_cheking(void){
	Register595[14] = 1;
	channels_on_off(Register595);
	TimeDisp[0] = 58;TimeDisp[1] = 58;TimeDisp[2] = 58;TimeDisp[3] = 58;
	for(i = 0;i<8;i++){
		set_brightness(i);
		display_mass(TimeDisp);
		LL_mDelay(100);
	}
	for(i = 8;i>0;i--){
		set_brightness(i-1);
		display_mass(TimeDisp);
		LL_mDelay(100);
	}
	int local_count = 0;
	while(local_count !=3){
		local_count++;
		for(i = 0;i<8;i++){
			LedState[i] = 1;
			LedFrontPanelUpdate(LedState);
			LL_mDelay(50);
			LedState[i] = 0;
		}
		for(i = 7;i>0;i--){
			LedState[i] = 1;
			LedFrontPanelUpdate(LedState);
			LL_mDelay(50);
			LedState[i] = 0;
		}
	}
	Register595[14] = 0;
	channels_on_off(Register595);
}
/* USER CODE END 4 */

void Error_Handler(void)
{
  __disable_irq();
  while (1)
  {
  }
}

/************************ (C) COPYRIGHT STMicroelectronics *****END OF FILE****/
